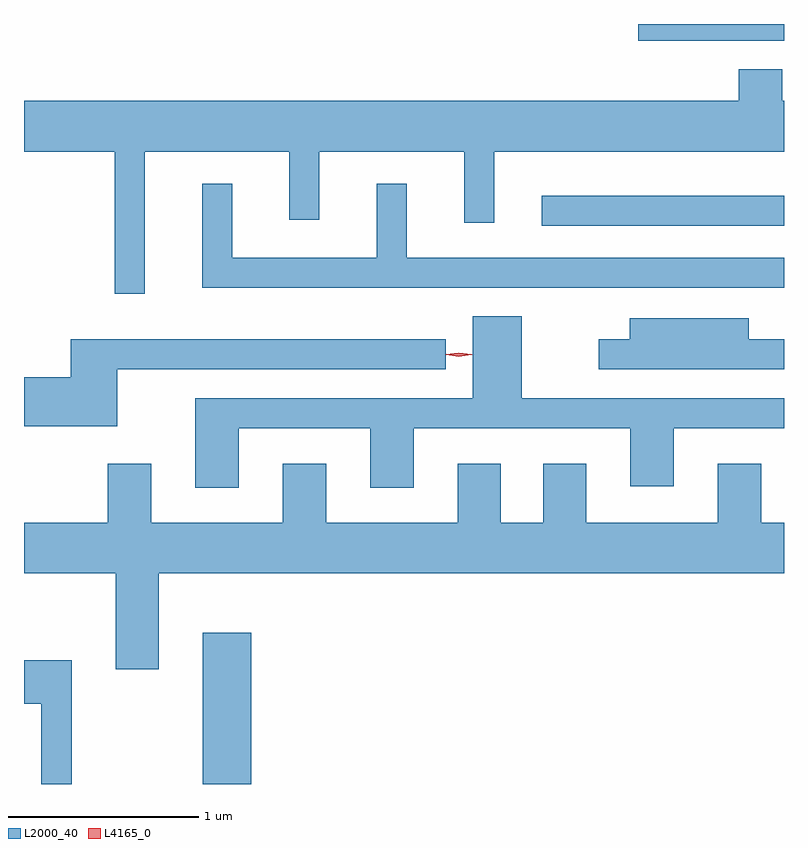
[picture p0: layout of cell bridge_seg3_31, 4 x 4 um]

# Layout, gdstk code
import gdstk
lib = gdstk.Library(unit=1e-6, precision=1e-09)
def R(c, l, rs):  # rectangles x0, y0, x1, y1
    for r in rs: c.add(gdstk.rectangle(r[:2], r[2:], *l))
def P(c, l, *ps):  # polygons
    for p in ps: c.add(gdstk.Polygon(p, *l))
L2000_40 = (2000, 40)
L4165_0 = (4165, 0)

bridge_seg3_31 = lib.new_cell('bridge_seg3_31')
R(bridge_seg3_31, L2000_40, [(1327.831,1160.428,1328.084,1161.224), (1329.613,1163.366,1330.889,1163.524), (1330.123,1164.341,1330.889,1164.428)])
P(bridge_seg3_31, L2000_40, [(1327.524,1163.756),(1328.286,1163.756),(1328.286,1163.398),(1328.444,1163.398),(1328.444,1163.756),(1329.206,1163.756),(1329.206,1163.383),(1329.364,1163.383),(1329.364,1163.756),(1330.889,1163.756),(1330.889,1164.024),(1330.879,1164.024),(1330.879,1164.189),(1330.651,1164.189),(1330.651,1164.024),(1326.889,1164.024),(1326.889,1163.756),(1327.366,1163.756),(1327.366,1163.008),(1327.524,1163.008)],
  [(1330.889,1163.199),(1328.904,1163.199),(1328.904,1163.588),(1328.746,1163.588),(1328.746,1163.199),(1327.984,1163.199),(1327.984,1163.588),(1327.826,1163.588),(1327.826,1163.041),(1330.889,1163.041)],
  [(1328.019,1162.301),(1328.711,1162.301),(1328.711,1161.986),(1328.939,1161.986),(1328.939,1162.301),(1330.081,1162.301),(1330.081,1161.996),(1330.309,1161.996),(1330.309,1162.301),(1330.889,1162.301),(1330.889,1162.459),(1329.509,1162.459),(1329.509,1162.889),(1329.251,1162.889),(1329.251,1162.459),(1327.791,1162.459),(1327.791,1161.986),(1328.019,1161.986)],
  [(1330.889,1162.769),(1330.704,1162.769),(1330.704,1162.879),(1330.076,1162.879),(1330.076,1162.769),(1329.913,1162.769),(1329.913,1162.611),(1330.889,1162.611)],
  [(1327.379,1162.611),(1329.108,1162.611),(1329.108,1162.769),(1327.136,1162.769),(1327.136,1162.569),(1326.889,1162.569),(1326.889,1162.311),(1327.379,1162.311)],
  [(1327.599,1161.536),(1330.889,1161.536),(1330.889,1161.804),(1330.769,1161.804),(1330.769,1162.114),(1330.541,1162.114),(1330.541,1161.804),(1329.849,1161.804),(1329.849,1162.114),(1329.621,1162.114),(1329.621,1161.804),(1329.399,1161.804),(1329.399,1162.114),(1329.171,1162.114),(1329.171,1161.804),(1328.479,1161.804),(1328.479,1162.114),(1328.251,1162.114),(1328.251,1161.804),(1327.559,1161.804),(1327.559,1162.114),(1327.331,1162.114),(1327.331,1161.804),(1326.889,1161.804),(1326.889,1161.536),(1327.371,1161.536),(1327.371,1161.031),(1327.599,1161.031)],
  [(1327.139,1161.079),(1326.889,1161.079),(1326.889,1160.851),(1326.981,1160.851),(1326.981,1160.428),(1327.139,1160.428)])
P(bridge_seg3_31, L4165_0, [(1329.178,1162.678),(1329.109,1162.688),(1329.109,1162.688),(1329.109,1162.689),(1329.178,1162.698),(1329.246,1162.689),(1329.247,1162.688),(1329.246,1162.688)],
  [(1329.178,1162.677),(1329.113,1162.687),(1329.112,1162.687),(1329.113,1162.688),(1329.178,1162.697),(1329.244,1162.688),(1329.244,1162.687),(1329.244,1162.687)])

lib.write_gds('bridge_seg3_31.gds')
